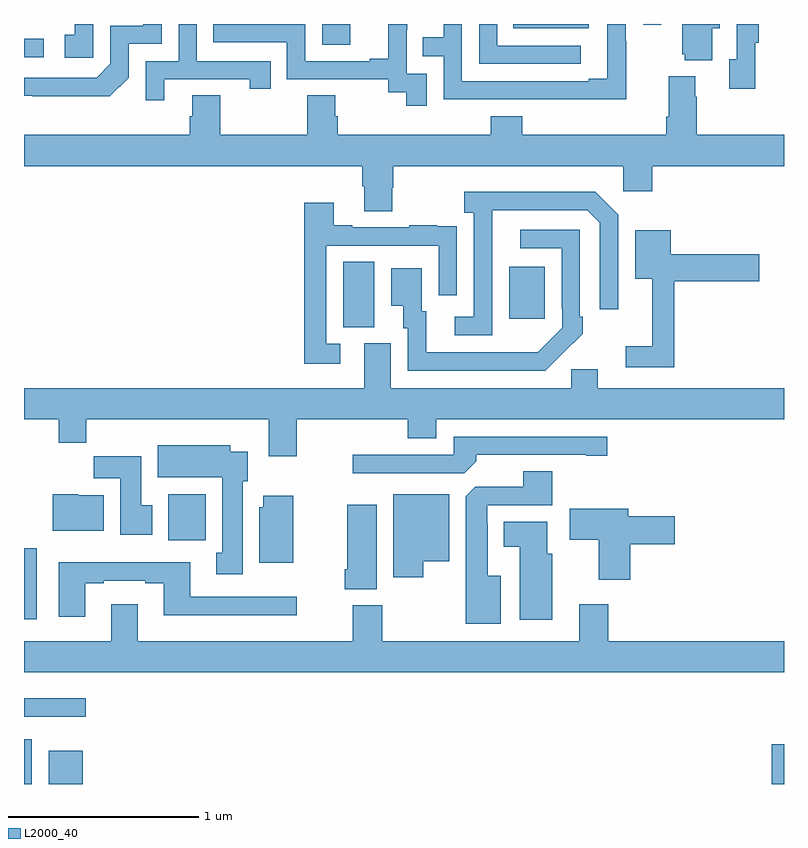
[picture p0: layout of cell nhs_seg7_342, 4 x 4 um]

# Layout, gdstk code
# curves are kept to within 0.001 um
import gdstk
lib = gdstk.Library(unit=1e-6, precision=1e-09)
def R(c, l, rs):  # rectangles x0, y0, x1, y1
    for r in rs: c.add(gdstk.rectangle(r[:2], r[2:], *l))
def P(c, l, *ps):  # polygons
    for p in ps: c.add(gdstk.Polygon(p, *l))
L2000_40 = (2000, 40)

nhs_seg7_342 = lib.new_cell('nhs_seg7_342')
R(nhs_seg7_342, L2000_40, [(137,1028,137.041,1028.236), (137.129,1028,137.308,1028.176), (140.936,1028,141,1028.209), (137,1028.355,137.326,1028.452), (137,1028.867,137.068,1029.241), (137.759,1029.284,137.956,1029.526), (138.68,1030.405,138.844,1030.748), (139.553,1030.449,139.741,1030.723), (137,1031.826,137.104,1031.922), (138.57,1031.892,138.718,1032), (139.576,1031.978,139.972,1032), (140.259,1031.997,140.355,1032)])
P(nhs_seg7_342, L2000_40, [(140.623,1031.978),(140.662,1031.978),(140.662,1032),(140.465,1032),(140.465,1031.841),(140.477,1031.841),(140.477,1031.81),(140.623,1031.81)],
  [(140.849,1031.902),(140.867,1031.902),(140.867,1032),(140.751,1032),(140.751,1031.814),(140.711,1031.814),(140.711,1031.658),(140.849,1031.658)],
  [(137.737,1031.709),(138.188,1031.709),(138.188,1031.658),(138.299,1031.658),(138.299,1031.805),(137.91,1031.805),(137.91,1032),(137.814,1032),(137.814,1031.805),(137.64,1031.805),(137.64,1031.598),(137.737,1031.598)],
  [(139.93,1031.886),(139.491,1031.886),(139.491,1032),(139.395,1032),(139.395,1031.79),(139.93,1031.79)],
  [(137.364,1032),(137.267,1032),(137.267,1031.943),(137.214,1031.943),(137.214,1031.823),(137.364,1031.823)],
  [(140.169,1031.909),(140.166,1031.909),(140.166,1032),(140.07,1032),(140.07,1031.713),(139.973,1031.713),(139.973,1031.7),(139.305,1031.7),(139.305,1032),(139.209,1032),(139.209,1031.93),(139.099,1031.93),(139.099,1031.829),(139.209,1031.829),(139.209,1031.604),(139.705,1031.604),(139.705,1031.603),(140.169,1031.603)],
  [(139.119,1031.739),(139.014,1031.739),(139.014,1031.969),(139.016,1031.969),(139.016,1032),(138.917,1032),(138.917,1031.818),(138.821,1031.818),(138.821,1031.805),(138.48,1031.805),(138.48,1032),(137.995,1032),(137.995,1031.904),(138.384,1031.904),(138.384,1031.709),(138.918,1031.709),(138.918,1031.641),(139.011,1031.641),(139.011,1031.571),(139.119,1031.571)],
  [(137.55,1031.718),(137.55,1031.895),(137.724,1031.895),(137.724,1032),(137.627,1032),(137.627,1031.991),(137.454,1031.991),(137.454,1031.79),(137.382,1031.718),(137,1031.718),(137,1031.622),(137.452,1031.621)],
  [(138.939,1031.139),(138.944,1031.139),(138.944,1031.252),(140.154,1031.252),(140.154,1031.121),(140.306,1031.121),(140.306,1031.252),(141,1031.252),(141,1031.416),(140.541,1031.416),(140.541,1031.618),(140.533,1031.618),(140.533,1031.725),(140.393,1031.725),(140.393,1031.512),(140.381,1031.512),(140.381,1031.416),(139.622,1031.416),(139.622,1031.515),(139.457,1031.515),(139.457,1031.416),(138.65,1031.416),(138.65,1031.514),(138.637,1031.514),(138.637,1031.624),(138.49,1031.624),(138.49,1031.416),(138.033,1031.416),(138.033,1031.624),(137.885,1031.624),(137.885,1031.514),(137.873,1031.514),(137.873,1031.416),(137,1031.416),(137,1031.252),(138.779,1031.252),(138.779,1031.146),(138.791,1031.146),(138.791,1031.014),(138.939,1031.014)],
  [(139.464,1030.819),(139.465,1031.019),(139.965,1031.019),(140.031,1030.953),(140.031,1030.5),(140.127,1030.5),(140.127,1030.995),(140.006,1031.116),(139.317,1031.116),(139.317,1031.006),(139.368,1031.006),(139.368,1030.458),(139.266,1030.458),(139.266,1030.362),(139.464,1030.362)],
  [(138.664,1030.317),(138.591,1030.317),(138.591,1030.833),(139.182,1030.833),(139.182,1030.572),(139.278,1030.572),(139.278,1030.826),(139.277,1030.826),(139.277,1030.935),(139.175,1030.935),(139.175,1030.942),(139.027,1030.942),(139.027,1030.929),(138.727,1030.929),(138.727,1030.942),(138.631,1030.942),(138.631,1031.059),(138.475,1031.059),(138.475,1030.212),(138.664,1030.212)],
  [(139.835,1030.267),(139.836,1030.266),(139.941,1030.371),(139.941,1030.459),(139.926,1030.459),(139.926,1030.917),(139.611,1030.917),(139.611,1030.821),(139.83,1030.821),(139.83,1030.501),(139.833,1030.501),(139.833,1030.401),(139.705,1030.273),(139.117,1030.272),(139.117,1030.488),(139.093,1030.488),(139.093,1030.714),(138.932,1030.714),(138.932,1030.517),(138.995,1030.517),(138.995,1030.398),(139.02,1030.398),(139.02,1030.176),(139.744,1030.176)],
  [(140.423,1030.646),(140.869,1030.646),(140.869,1030.788),(140.404,1030.788),(140.404,1030.915),(140.216,1030.915),(140.216,1030.658),(140.306,1030.658),(140.306,1030.303),(140.166,1030.303),(140.166,1030.194),(140.423,1030.194)],
  [(138.435,1029.92),(139.019,1029.92),(139.019,1029.821),(139.171,1029.821),(139.171,1029.92),(141,1029.92),(141,1030.084),(140.02,1030.084),(140.02,1030.182),(139.881,1030.182),(139.881,1030.084),(138.931,1030.084),(138.931,1030.32),(138.791,1030.32),(138.791,1030.084),(137,1030.084),(137,1029.92),(137.183,1029.92),(137.183,1029.796),(137.327,1029.796),(137.327,1029.92),(138.287,1029.92),(138.287,1029.726),(138.435,1029.726)],
  [(139.379,1029.698),(139.379,1029.732),(139.958,1029.732),(139.958,1029.727),(140.071,1029.727),(140.071,1029.828),(139.263,1029.828),(139.263,1029.732),(138.729,1029.732),(138.729,1029.636),(139.317,1029.636)],
  [(138.151,1029.594),(138.178,1029.594),(138.178,1029.748),(138.085,1029.748),(138.085,1029.784),(137.705,1029.784),(137.705,1029.614),(138.044,1029.614),(138.044,1029.218),(138.011,1029.218),(138.011,1029.105),(138.151,1029.105)],
  [(137.674,1029.468),(137.617,1029.468),(137.617,1029.726),(137.368,1029.726),(137.368,1029.608),(137.507,1029.608),(137.507,1029.312),(137.674,1029.312)],
  [(139.51,1029.097),(139.441,1029.097),(139.441,1029.371),(139.437,1029.371),(139.437,1029.468),(139.781,1029.468),(139.781,1029.647),(139.628,1029.647),(139.628,1029.564),(139.374,1029.564),(139.325,1029.515),(139.325,1028.843),(139.51,1028.843)],
  [(137.419,1029.52),(137.286,1029.52),(137.286,1029.526),(137.15,1029.526),(137.15,1029.332),(137.419,1029.332)],
  [(139.102,1029.173),(139.237,1029.173),(139.237,1029.526),(138.944,1029.526),(138.944,1029.087),(139.102,1029.087)],
  [(138.418,1029.517),(138.26,1029.517),(138.26,1029.456),(138.239,1029.456),(138.239,1029.164),(138.418,1029.164)],
  [(138.856,1029.469),(138.701,1029.469),(138.701,1029.13),(138.689,1029.13),(138.689,1029.025),(138.856,1029.025)],
  [(140.192,1029.263),(140.425,1029.263),(140.425,1029.41),(140.179,1029.41),(140.179,1029.448),(139.872,1029.448),(139.872,1029.286),(140.024,1029.286),(140.024,1029.075),(140.192,1029.075)],
  [(139.78,1029.213),(139.753,1029.213),(139.753,1029.379),(139.526,1029.379),(139.526,1029.248),(139.61,1029.248),(139.61,1028.865),(139.78,1028.865)],
  [(137.323,1029.057),(137.419,1029.057),(137.419,1029.069),(137.639,1029.069),(137.639,1029.057),(137.735,1029.057),(137.735,1028.888),(138.436,1028.888),(138.436,1028.985),(137.875,1028.985),(137.875,1029.166),(137.183,1029.166),(137.183,1028.88),(137.323,1028.88)],
  [(141,1028.752),(140.075,1028.752),(140.075,1028.947),(139.922,1028.947),(139.922,1028.752),(138.885,1028.752),(138.885,1028.94),(138.73,1028.94),(138.73,1028.752),(137.599,1028.752),(137.599,1028.947),(137.459,1028.947),(137.459,1028.752),(137,1028.752),(137,1028.588),(141,1028.588)])

lib.write_gds('nhs_seg7_342.gds')
